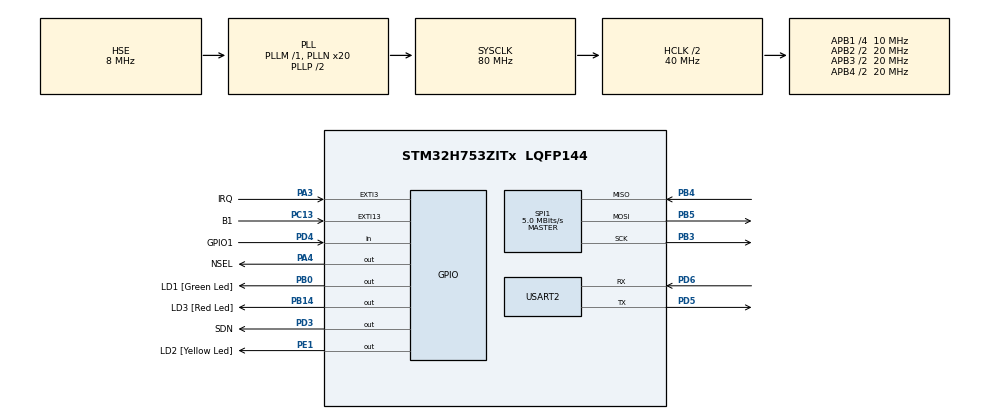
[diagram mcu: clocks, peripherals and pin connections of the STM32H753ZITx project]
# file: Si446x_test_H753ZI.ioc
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CORTEX_M7.CPU_DCache=Disabled
CORTEX_M7.CPU_ICache=Disabled
CORTEX_M7.MPU_Control=__NULL
Mcu.Family=STM32H7
Mcu.Name=STM32H753ZITx
Mcu.Package=LQFP144
NVIC.EXTI15_10_IRQn=true\:5\:0\:true\:false\:true\:true\:true\:true
NVIC.PriorityGroup=NVIC_PRIORITYGROUP_4
NVIC.USART2_IRQn=true\:5\:0\:true\:false\:true\:true\:true\:true
PA3.GPIO_Label=IRQ
PA3.GPIO_PuPd=GPIO_NOPULL
PA3.Signal=GPXTI3
PA4.GPIO_Label=NSEL
PA4.GPIO_PuPd=GPIO_PULLUP
PA4.PinState=GPIO_PIN_SET
PA4.Signal=GPIO_Output
PB0.GPIO_Label=LD1 [Green Led]
PB0.Signal=GPIO_Output
PB14.GPIO_Label=LD3 [Red Led]
PB14.Signal=GPIO_Output
PB3\ (JTDO/TRACESWO).GPIO_PuPd=GPIO_PULLDOWN
PB3\ (JTDO/TRACESWO).Mode=Full_Duplex_Master
PB3\ (JTDO/TRACESWO).Signal=SPI1_SCK
PB4\ (NJTRST).GPIO_PuPd=GPIO_NOPULL
PB4\ (NJTRST).Mode=Full_Duplex_Master
PB4\ (NJTRST).Signal=SPI1_MISO
PB5.Mode=Full_Duplex_Master
PB5.Signal=SPI1_MOSI
PC1.Signal=ETH_MDC
PC13.GPIO_Label=B1
PC13.Signal=GPXTI13
PD3.GPIO_Label=SDN
PD3.GPIO_PuPd=GPIO_NOPULL
PD3.GPIO_Speed=GPIO_SPEED_FREQ_HIGH
PD3.Signal=GPIO_Output
PD4.GPIO_Label=GPIO1
PD4.GPIO_PuPd=GPIO_NOPULL
PD4.Signal=GPIO_Input
PD5.Mode=Asynchronous
PD5.Signal=USART2_TX
PD6.Mode=Asynchronous
PD6.Signal=USART2_RX
PE1.GPIO_Label=LD2 [Yellow Led]
PE1.Signal=GPIO_Output
PH0-OSC_IN\ (PH0).Mode=HSE-External-Oscillator
PH0-OSC_IN\ (PH0).Signal=RCC_OSC_IN
PH1-OSC_OUT\ (PH1).Mode=HSE-External-Oscillator
PH1-OSC_OUT\ (PH1).Signal=RCC_OSC_OUT
ProjectManager.HeapSize=0x200
ProjectManager.StackSize=0x400
ProjectManager.TargetToolchain=STM32CubeIDE
RCC.ADCFreq_Value=200000000
RCC.APB1Freq_Value=10000000
RCC.APB2Freq_Value=20000000
RCC.APB3Freq_Value=20000000
RCC.APB4Freq_Value=20000000
RCC.CortexFreq_Value=80000000
RCC.D1PPRE=RCC_APB3_DIV2
RCC.D2PPRE1=RCC_APB1_DIV4
RCC.D2PPRE2=RCC_APB2_DIV2
RCC.D3PPRE=RCC_APB4_DIV2
RCC.DIVM1=1
RCC.DIVM2=1
RCC.DIVM3=1
RCC.DIVN1=20
RCC.DIVN2=50
RCC.DIVN3=50
RCC.HCLKFreq_Value=40000000
RCC.HPRE=RCC_HCLK_DIV2
RCC.HSE_VALUE=8000000
RCC.PLL2FRACN=0
RCC.PLL3FRACN=0
RCC.PLLFRACN=0
RCC.PLLSourceVirtual=RCC_PLLSOURCE_HSE
RCC.PWR_Regulator_Voltage_Scale=PWR_REGULATOR_VOLTAGE_SCALE2
RCC.SPI6CLockSelection=RCC_SPI6CLKSOURCE_HSI
RCC.SYSCLKFreq_VALUE=80000000
RCC.SYSCLKSource=RCC_SYSCLKSOURCE_PLLCLK
RCC.USBFreq_Value=80000000
SPI1.BaudRatePrescaler=SPI_BAUDRATEPRESCALER_16
SPI1.CLKPolarity=SPI_POLARITY_LOW
SPI1.CalculateBaudRate=5.0 MBits/s
SPI1.DataSize=SPI_DATASIZE_8BIT
SPI1.Direction=SPI_DIRECTION_2LINES
SPI1.Mode=SPI_MODE_MASTER
SPI1.VirtualType=VM_MASTER
TIM1.Prescaler=120-1
USART2.VirtualMode-Asynchronous=VM_ASYNC
VP_TIM1_VS_ClockSourceINT.Mode=Internal
board=NUCLEO-H753ZI

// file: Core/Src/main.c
/* USER CODE BEGIN Header */
/**
  ******************************************************************************
  * @file           : main.c
  * @brief          : Main program body
  ******************************************************************************
  * @attention
  *
  * Copyright (c) 2024 STMicroelectronics.
  * All rights reserved.
  *
  * This software is licensed under terms that can be found in the LICENSE file
  * in the root directory of this software component.
  * If no LICENSE file comes with this software, it is provided AS-IS.
  *
  ******************************************************************************
  */
/* USER CODE END Header */
#include "main.h"

/* USER CODE BEGIN Includes */
#include <stdio.h>
#include <stdint.h>
#include <stdbool.h>
#include <string.h>
#include "si4463_huang.h"
#include "ax25_huang.h"
/* USER CODE END Includes */

/* USER CODE BEGIN PD */
#ifdef __GNUC__
  #define PUTCHAR_PROTOTYPE int __io_putchar(int ch)
#else
  #define PUTCHAR_PROTOTYPE int fputc(int ch, FILE *f)
#endif /* __GNUC__ */
/* USER CODE END PD */

SPI_HandleTypeDef hspi1;

TIM_HandleTypeDef htim1;

UART_HandleTypeDef huart2;

/* USER CODE BEGIN PV */
PUTCHAR_PROTOTYPE
{
	HAL_UART_Transmit(&huart2, (uint8_t *)&ch, 1, 0xFFFF);
	return ch;
}

si4463_t si4463;
bool txFlag = false;
ax25frame_t ax25frame;
/* USER CODE END PV */

void SystemClock_Config(void);
static void MX_GPIO_Init(void);
static void MX_USART2_UART_Init(void);
static void MX_TIM1_Init(void);
static void MX_SPI1_Init(void);
/* USER CODE BEGIN PFP */
uint8_t si4463_SPI_Write(uint8_t* pTxData, uint8_t dataLen, uint32_t timeout);
uint8_t si4463_SPI_Read(uint8_t* pRxData, uint8_t dataLen, uint32_t timeout);
uint8_t si4463_SPI_WriteRead(uint8_t* pTxData, uint8_t* pRxData, uint8_t dataLen, uint32_t timeout);
uint8_t si4463_SPI_CheckState(void);
void si4463_DelayUs(uint32_t delay);
void si4463_setNSEL(bool val);
void si4463_setSDN(bool val);
bool si4463_getIRQ(void);
bool si4463_getGPIO1(void);
/* USER CODE END PFP */

/* USER CODE BEGIN 0 */
void HAL_GPIO_EXTI_Callback(uint16_t GPIO_Pin)
{
	if(GPIO_Pin == B1_Pin)
	{
		printf("interrupt\r\n");
		txFlag = true;
		//HAL_GPIO_WritePin(GPIO1_GPIO_Port, GPIO1_Pin, GPIO_PIN_SET);
	}
}

// Assumes little endian
void printBits(size_t const size, void const * const ptr)
{
    unsigned char *b = (unsigned char*) ptr;
    unsigned char byte;
    int i, j;

    for (i = size-1; i >= 0; i--) {
        for (j = 7; j >= 0; j--) {
            byte = (b[i] >> j) & 1;
            printf("%u", byte);
        }
        printf(" ");
    }
}

/* USER CODE END 0 */

int main(void)
{

  /* MCU Configuration--------------------------------------------------------*/

  /* Reset of all peripherals, Initializes the Flash interface and the Systick. */
  HAL_Init();

  /* Configure the system clock */
  SystemClock_Config();

  /* Initialize all configured peripherals */
  MX_GPIO_Init();
  MX_USART2_UART_Init();
  MX_TIM1_Init();
  MX_SPI1_Init();
  /* USER CODE BEGIN 2 */
	HAL_TIM_Base_Start(&htim1); // us delay timer

	si4463.SPI_Write = si4463_SPI_Write;
	si4463.SPI_Read = si4463_SPI_Read;
	si4463.SPI_WriteRead = si4463_SPI_WriteRead;
	si4463.SPI_CheckState = si4463_SPI_CheckState;
	si4463.spi_state_ready = HAL_SPI_STATE_READY;
	si4463.DelayUs = si4463_DelayUs;
	si4463.NSEL = si4463_setNSEL;
	si4463.SDN = si4463_setSDN;
	si4463.gpios.IRQ = si4463_getIRQ;
	si4463.gpios.GPIO1 = si4463_getGPIO1;
	si4463.gpios.gpio_low = GPIO_PIN_RESET;
	si4463.gpios.gpio_high = GPIO_PIN_SET;

	/* Initialize si4463 */
	int res = si4463_init(&si4463);
	if(res == SI4463_OK)
		printf("Si4463 init .. ok !\r\n");
	else
		printf("Si4463 init .. fail ! error code: %d\r\n", res);

	res = si4463_setTxPower(&si4463, 127);
	if(res == SI4463_OK)
	{
		printf("Set Tx power .. ok !\r\n");
		printf("Get Tx power %d \r\n", si4463_getTxPower(&si4463));
	}
	else
		printf("Si4463 init .. fail ! error code: %d\r\n", res);

	res = si4463_setFrequency(&si4463, 433000000);

	res = si4463_setTxModulation(&si4463, MOD_2GFSK);

	res = si4463_setTxDataRate(&si4463, DR_9600);

	uint8_t control = RADIOLIB_AX25_CONTROL_U_UNNUMBERED_INFORMATION | RADIOLIB_AX25_CONTROL_POLL_FINAL_DISABLED | RADIOLIB_AX25_CONTROL_UNNUMBERED_FRAME;
	ax25sendframe_t* ax25sendframe = createAX25SendFrame("STARL", 0, "NCKU", 0, control, RADIOLIB_AX25_PID_NO_LAYER_3, (uint8_t*)"What is 'X' SATORO ?What ?", strlen("What is 'X' SATORO ?What ?"), 8);
	ax25frame.ax25SendFrame = ax25sendframe;
	uint16_t hdlcLen = 0;
	uint8_t* hdlcbuff;
	AX25Frame_HDLC_Generator(&ax25frame, &hdlcbuff, &hdlcLen);
	ax25_nrzi_encode(hdlcbuff, hdlcbuff, hdlcLen);
	ax25_g3ruh_scrambler_init(0x21000UL);
	ax25_g3ruh_scrambler(hdlcbuff, hdlcbuff, hdlcLen);

  /* USER CODE END 2 */

  /* Infinite loop */
  /* USER CODE BEGIN WHILE */
  while (1)
  {
	  if(txFlag)
	  {
		  res = si4463_transmit(&si4463, hdlcbuff, hdlcLen, STATE_NO_CHANGE);
		  if(res == SI4463_OK)
		  {
			  printf("Si4463 Transmit .. ok !\r\n");
			  printf("Packet: ");
			  for(int i = 0; i < hdlcLen; i++)
			  {
				  printf("0x%02x ", hdlcbuff[i]);
			  }
			  printf("\r\n");
		  }
		  else
			  printf("Si4463 Transmit .. fail ! error code: %d\r\n", res);
		  txFlag = false;
	  }

    /* USER CODE END WHILE */

  }
}

void SystemClock_Config(void)
{
  RCC_OscInitTypeDef RCC_OscInitStruct = {0};
  RCC_ClkInitTypeDef RCC_ClkInitStruct = {0};

  /** Supply configuration update enable
  */
  HAL_PWREx_ConfigSupply(PWR_LDO_SUPPLY);

  /** Configure the main internal regulator output voltage
  */
  __HAL_PWR_VOLTAGESCALING_CONFIG(PWR_REGULATOR_VOLTAGE_SCALE2);

  while(!__HAL_PWR_GET_FLAG(PWR_FLAG_VOSRDY)) {}

  /** Initializes the RCC Oscillators according to the specified parameters
  * in the RCC_OscInitTypeDef structure.
  */
  RCC_OscInitStruct.OscillatorType = RCC_OSCILLATORTYPE_HSE;
  RCC_OscInitStruct.HSEState = RCC_HSE_ON;
  RCC_OscInitStruct.PLL.PLLState = RCC_PLL_ON;
  RCC_OscInitStruct.PLL.PLLSource = RCC_PLLSOURCE_HSE;
  RCC_OscInitStruct.PLL.PLLM = 1;
  RCC_OscInitStruct.PLL.PLLN = 20;
  RCC_OscInitStruct.PLL.PLLP = 2;
  RCC_OscInitStruct.PLL.PLLQ = 2;
  RCC_OscInitStruct.PLL.PLLR = 2;
  RCC_OscInitStruct.PLL.PLLRGE = RCC_PLL1VCIRANGE_3;
  RCC_OscInitStruct.PLL.PLLVCOSEL = RCC_PLL1VCOMEDIUM;
  RCC_OscInitStruct.PLL.PLLFRACN = 0;
  if (HAL_RCC_OscConfig(&RCC_OscInitStruct) != HAL_OK)
  {
    Error_Handler();
  }

  /** Initializes the CPU, AHB and APB buses clocks
  */
  RCC_ClkInitStruct.ClockType = RCC_CLOCKTYPE_HCLK|RCC_CLOCKTYPE_SYSCLK
                              |RCC_CLOCKTYPE_PCLK1|RCC_CLOCKTYPE_PCLK2
                              |RCC_CLOCKTYPE_D3PCLK1|RCC_CLOCKTYPE_D1PCLK1;
  RCC_ClkInitStruct.SYSCLKSource = RCC_SYSCLKSOURCE_PLLCLK;
  RCC_ClkInitStruct.SYSCLKDivider = RCC_SYSCLK_DIV1;
  RCC_ClkInitStruct.AHBCLKDivider = RCC_HCLK_DIV2;
  RCC_ClkInitStruct.APB3CLKDivider = RCC_APB3_DIV2;
  RCC_ClkInitStruct.APB1CLKDivider = RCC_APB1_DIV4;
  RCC_ClkInitStruct.APB2CLKDivider = RCC_APB2_DIV2;
  RCC_ClkInitStruct.APB4CLKDivider = RCC_APB4_DIV2;

  if (HAL_RCC_ClockConfig(&RCC_ClkInitStruct, FLASH_LATENCY_0) != HAL_OK)
  {
    Error_Handler();
  }
}

static void MX_SPI1_Init(void)
{

  /* SPI1 parameter configuration*/
  hspi1.Instance = SPI1;
  hspi1.Init.Mode = SPI_MODE_MASTER;
  hspi1.Init.Direction = SPI_DIRECTION_2LINES;
  hspi1.Init.DataSize = SPI_DATASIZE_8BIT;
  hspi1.Init.CLKPolarity = SPI_POLARITY_LOW;
  hspi1.Init.CLKPhase = SPI_PHASE_1EDGE;
  hspi1.Init.NSS = SPI_NSS_SOFT;
  hspi1.Init.BaudRatePrescaler = SPI_BAUDRATEPRESCALER_16;
  hspi1.Init.FirstBit = SPI_FIRSTBIT_MSB;
  hspi1.Init.TIMode = SPI_TIMODE_DISABLE;
  hspi1.Init.CRCCalculation = SPI_CRCCALCULATION_DISABLE;
  hspi1.Init.CRCPolynomial = 0x0;
  hspi1.Init.NSSPMode = SPI_NSS_PULSE_ENABLE;
  hspi1.Init.NSSPolarity = SPI_NSS_POLARITY_LOW;
  hspi1.Init.FifoThreshold = SPI_FIFO_THRESHOLD_01DATA;
  hspi1.Init.TxCRCInitializationPattern = SPI_CRC_INITIALIZATION_ALL_ZERO_PATTERN;
  hspi1.Init.RxCRCInitializationPattern = SPI_CRC_INITIALIZATION_ALL_ZERO_PATTERN;
  hspi1.Init.MasterSSIdleness = SPI_MASTER_SS_IDLENESS_00CYCLE;
  hspi1.Init.MasterInterDataIdleness = SPI_MASTER_INTERDATA_IDLENESS_00CYCLE;
  hspi1.Init.MasterReceiverAutoSusp = SPI_MASTER_RX_AUTOSUSP_DISABLE;
  hspi1.Init.MasterKeepIOState = SPI_MASTER_KEEP_IO_STATE_DISABLE;
  hspi1.Init.IOSwap = SPI_IO_SWAP_DISABLE;
  if (HAL_SPI_Init(&hspi1) != HAL_OK)
  {
    Error_Handler();
  }

}

static void MX_TIM1_Init(void)
{

  TIM_ClockConfigTypeDef sClockSourceConfig = {0};
  TIM_MasterConfigTypeDef sMasterConfig = {0};

  htim1.Instance = TIM1;
  htim1.Init.Prescaler = 120-1;
  htim1.Init.CounterMode = TIM_COUNTERMODE_UP;
  htim1.Init.Period = 65535;
  htim1.Init.ClockDivision = TIM_CLOCKDIVISION_DIV1;
  htim1.Init.RepetitionCounter = 0;
  htim1.Init.AutoReloadPreload = TIM_AUTORELOAD_PRELOAD_DISABLE;
  if (HAL_TIM_Base_Init(&htim1) != HAL_OK)
  {
    Error_Handler();
  }
  sClockSourceConfig.ClockSource = TIM_CLOCKSOURCE_INTERNAL;
  if (HAL_TIM_ConfigClockSource(&htim1, &sClockSourceConfig) != HAL_OK)
  {
    Error_Handler();
  }
  sMasterConfig.MasterOutputTrigger = TIM_TRGO_RESET;
  sMasterConfig.MasterOutputTrigger2 = TIM_TRGO2_RESET;
  sMasterConfig.MasterSlaveMode = TIM_MASTERSLAVEMODE_DISABLE;
  if (HAL_TIMEx_MasterConfigSynchronization(&htim1, &sMasterConfig) != HAL_OK)
  {
    Error_Handler();
  }

}

static void MX_USART2_UART_Init(void)
{

  huart2.Instance = USART2;
  huart2.Init.BaudRate = 115200;
  huart2.Init.WordLength = UART_WORDLENGTH_8B;
  huart2.Init.StopBits = UART_STOPBITS_1;
  huart2.Init.Parity = UART_PARITY_NONE;
  huart2.Init.Mode = UART_MODE_TX_RX;
  huart2.Init.HwFlowCtl = UART_HWCONTROL_NONE;
  huart2.Init.OverSampling = UART_OVERSAMPLING_16;
  huart2.Init.OneBitSampling = UART_ONE_BIT_SAMPLE_DISABLE;
  huart2.Init.ClockPrescaler = UART_PRESCALER_DIV1;
  huart2.AdvancedInit.AdvFeatureInit = UART_ADVFEATURE_NO_INIT;
  if (HAL_UART_Init(&huart2) != HAL_OK)
  {
    Error_Handler();
  }
  if (HAL_UARTEx_SetTxFifoThreshold(&huart2, UART_TXFIFO_THRESHOLD_1_8) != HAL_OK)
  {
    Error_Handler();
  }
  if (HAL_UARTEx_SetRxFifoThreshold(&huart2, UART_RXFIFO_THRESHOLD_1_8) != HAL_OK)
  {
    Error_Handler();
  }
  if (HAL_UARTEx_DisableFifoMode(&huart2) != HAL_OK)
  {
    Error_Handler();
  }

}

static void MX_GPIO_Init(void)
{
  GPIO_InitTypeDef GPIO_InitStruct = {0};

  /* GPIO Ports Clock Enable */
  __HAL_RCC_GPIOC_CLK_ENABLE();
  __HAL_RCC_GPIOH_CLK_ENABLE();
  __HAL_RCC_GPIOA_CLK_ENABLE();
  __HAL_RCC_GPIOB_CLK_ENABLE();
  __HAL_RCC_GPIOD_CLK_ENABLE();
  __HAL_RCC_GPIOE_CLK_ENABLE();

  /*Configure GPIO pin Output Level */
  HAL_GPIO_WritePin(NSEL_GPIO_Port, NSEL_Pin, GPIO_PIN_SET);

  /*Configure GPIO pin Output Level */
  HAL_GPIO_WritePin(GPIOB, LD1_Pin|LD3_Pin, GPIO_PIN_RESET);

  /*Configure GPIO pin Output Level */
  HAL_GPIO_WritePin(SDN_GPIO_Port, SDN_Pin, GPIO_PIN_RESET);

  /*Configure GPIO pin Output Level */
  HAL_GPIO_WritePin(LD2_GPIO_Port, LD2_Pin, GPIO_PIN_RESET);

  /*Configure GPIO pin : B1_Pin */
  GPIO_InitStruct.Pin = B1_Pin;
  GPIO_InitStruct.Mode = GPIO_MODE_IT_RISING;
  GPIO_InitStruct.Pull = GPIO_NOPULL;
  HAL_GPIO_Init(B1_GPIO_Port, &GPIO_InitStruct);

  /*Configure GPIO pin : PC1 */
  GPIO_InitStruct.Pin = GPIO_PIN_1;
  GPIO_InitStruct.Mode = GPIO_MODE_AF_PP;
  GPIO_InitStruct.Pull = GPIO_NOPULL;
  GPIO_InitStruct.Speed = GPIO_SPEED_FREQ_LOW;
  GPIO_InitStruct.Alternate = GPIO_AF11_ETH;
  HAL_GPIO_Init(GPIOC, &GPIO_InitStruct);

  /*Configure GPIO pin : IRQ_Pin */
  GPIO_InitStruct.Pin = IRQ_Pin;
  GPIO_InitStruct.Mode = GPIO_MODE_IT_RISING;
  GPIO_InitStruct.Pull = GPIO_NOPULL;
  HAL_GPIO_Init(IRQ_GPIO_Port, &GPIO_InitStruct);

  /*Configure GPIO pin : NSEL_Pin */
  GPIO_InitStruct.Pin = NSEL_Pin;
  GPIO_InitStruct.Mode = GPIO_MODE_OUTPUT_PP;
  GPIO_InitStruct.Pull = GPIO_PULLUP;
  GPIO_InitStruct.Speed = GPIO_SPEED_FREQ_LOW;
  HAL_GPIO_Init(NSEL_GPIO_Port, &GPIO_InitStruct);

  /*Configure GPIO pins : LD1_Pin LD3_Pin */
  GPIO_InitStruct.Pin = LD1_Pin|LD3_Pin;
  GPIO_InitStruct.Mode = GPIO_MODE_OUTPUT_PP;
  GPIO_InitStruct.Pull = GPIO_NOPULL;
  GPIO_InitStruct.Speed = GPIO_SPEED_FREQ_LOW;
  HAL_GPIO_Init(GPIOB, &GPIO_InitStruct);

  /*Configure GPIO pin : SDN_Pin */
  GPIO_InitStruct.Pin = SDN_Pin;
  GPIO_InitStruct.Mode = GPIO_MODE_OUTPUT_PP;
  GPIO_InitStruct.Pull = GPIO_NOPULL;
  GPIO_InitStruct.Speed = GPIO_SPEED_FREQ_HIGH;
  HAL_GPIO_Init(SDN_GPIO_Port, &GPIO_InitStruct);

  /*Configure GPIO pin : GPIO1_Pin */
  GPIO_InitStruct.Pin = GPIO1_Pin;
  GPIO_InitStruct.Mode = GPIO_MODE_INPUT;
  GPIO_InitStruct.Pull = GPIO_NOPULL;
  HAL_GPIO_Init(GPIO1_GPIO_Port, &GPIO_InitStruct);

  /*Configure GPIO pin : LD2_Pin */
  GPIO_InitStruct.Pin = LD2_Pin;
  GPIO_InitStruct.Mode = GPIO_MODE_OUTPUT_PP;
  GPIO_InitStruct.Pull = GPIO_NOPULL;
  GPIO_InitStruct.Speed = GPIO_SPEED_FREQ_LOW;
  HAL_GPIO_Init(LD2_GPIO_Port, &GPIO_InitStruct);

  /* EXTI interrupt init*/
  HAL_NVIC_SetPriority(EXTI15_10_IRQn, 5, 0);
  HAL_NVIC_EnableIRQ(EXTI15_10_IRQn);

}

/* USER CODE BEGIN 4 */
uint8_t si4463_SPI_Write(uint8_t* pTxData, uint8_t dataLen, uint32_t timeout)
{
	return HAL_SPI_Transmit(&hspi1, pTxData, dataLen, timeout);
}

uint8_t si4463_SPI_Read(uint8_t* pRxData, uint8_t dataLen, uint32_t timeout)
{
	return HAL_SPI_Receive(&hspi1, pRxData, dataLen, timeout);
}

uint8_t si4463_SPI_WriteRead(uint8_t* pTxData, uint8_t* pRxData, uint8_t dataLen, uint32_t timeout)
{
	return HAL_SPI_TransmitReceive(&hspi1, pTxData, pRxData, dataLen, timeout);
}

uint8_t si4463_SPI_CheckState(void)
{
	return HAL_SPI_GetState(&hspi1);
}

void si4463_DelayUs(uint32_t delay)
{
	__HAL_TIM_SET_COUNTER(&htim1, 0);
	while((__HAL_TIM_GET_COUNTER(&htim1)) < delay);
}

void si4463_setNSEL(bool val)
{
	if(val == true)
		HAL_GPIO_WritePin(NSEL_GPIO_Port, NSEL_Pin, GPIO_PIN_SET);
	else
		HAL_GPIO_WritePin(NSEL_GPIO_Port, NSEL_Pin, GPIO_PIN_RESET);
}

void si4463_setSDN(bool val)
{
	if(val == true)
		HAL_GPIO_WritePin(SDN_GPIO_Port, SDN_Pin, GPIO_PIN_SET);
	else
		HAL_GPIO_WritePin(SDN_GPIO_Port, SDN_Pin, GPIO_PIN_RESET);
}

bool si4463_getIRQ(void)
{
	return HAL_GPIO_ReadPin(IRQ_GPIO_Port, IRQ_Pin);
}

bool si4463_getGPIO1(void)
{
	return HAL_GPIO_ReadPin(GPIO1_GPIO_Port, GPIO1_Pin);
}
/* USER CODE END 4 */

void Error_Handler(void)
{
  __disable_irq();
  while (1)
  {
  }
}
